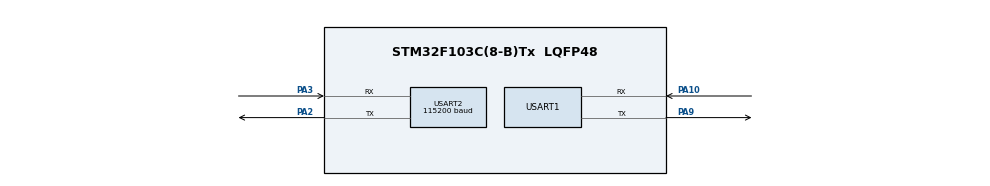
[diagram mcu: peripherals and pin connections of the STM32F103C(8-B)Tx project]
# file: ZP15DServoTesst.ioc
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Mcu.Family=STM32F1
Mcu.Name=STM32F103C(8-B)Tx
Mcu.Package=LQFP48
NVIC.PriorityGroup=NVIC_PRIORITYGROUP_4
PA2.Mode=Asynchronous
PA2.Signal=USART2_TX
PA3.Mode=Asynchronous
PA3.Signal=USART2_RX
PA10.Mode=Asynchronous
PA10.Signal=USART1_RX
PA13.Mode=Serial_Wire
PA13.Signal=SYS_JTMS-SWDIO
PA14.Mode=Serial_Wire
PA14.Signal=SYS_JTCK-SWCLK
PA9.Mode=Asynchronous
PA9.Signal=USART1_TX
ProjectManager.HeapSize=0x200
ProjectManager.StackSize=0x400
ProjectManager.TargetToolchain=CMake
RCC.APB1Freq_Value=8000000
RCC.APB2Freq_Value=8000000
USART1.VirtualMode=VM_ASYNC
USART2.BaudRate=115200
USART2.VirtualMode=VM_ASYNC
board=custom

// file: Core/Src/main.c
/* USER CODE BEGIN Header */
/**
  ******************************************************************************
  * @file           : main.c
  * @brief          : Main program body
  ******************************************************************************
  * @attention
  *
  * Copyright (c) 2026 STMicroelectronics.
  * All rights reserved.
  *
  * This software is licensed under terms that can be found in the LICENSE file
  * in the root directory of this software component.
  * If no LICENSE file comes with this software, it is provided AS-IS.
  *
  ******************************************************************************
  */
/* USER CODE END Header */
#include "main.h"

/* USER CODE BEGIN Includes */
#include <stdio.h>
#include <string.h>

#include "ZP15D.h"
/* USER CODE END Includes */

UART_HandleTypeDef huart1;
UART_HandleTypeDef huart2;

/* USER CODE BEGIN PV */
char ret[32];
char str[200];
uint16_t pos=500;
uint16_t ret_len;
uint16_t position_value;
uint16_t version_value;
uint16_t temperature_value;
uint16_t voltage_x10;
uint8_t read_ok;
uint8_t pos_ok;
uint8_t temp_voltage_ok;
uint8_t version_ok;
uint8_t mode_ok;
uint8_t mode;
uint8_t ID;
uint32_t now=0;
uint32_t last_time=0;
uint32_t last_read_time=0;
uint32_t last_probe_time=0;
uint8_t probe_index=0;
/* USER CODE END PV */

void SystemClock_Config(void);
static void MX_GPIO_Init(void);
static void MX_USART1_UART_Init(void);
static void MX_USART2_UART_Init(void);

/* USER CODE BEGIN 0 */
const char *probe_cmds[] = {
  "#001PVER!",
  "#001PRAD!",
  "#001PMOD!",
  "#001PRTE!",
  "#001PRTV!",
  "#001PTE!",
  "#001PTMP!",
  "#001PVOL!",
  "#001PVIN!"
};

void ZP15D_ProbeReadCommand(void)
{
  const char *cmd = probe_cmds[probe_index];

  ZP15D_ClearRx();
  ZP15D_SendRaw(cmd);
  ret_len = ZP15D_ReadReturn(ret, sizeof(ret), 300);

  snprintf(str, sizeof(str), "probe_cmd=%s,probe_ret=%s,probe_len=%u\r\n", cmd, ret, ret_len);
  HAL_UART_Transmit(&huart2, (uint8_t *)str, strlen(str), 100);

  probe_index++;
  if (probe_index >= sizeof(probe_cmds) / sizeof(probe_cmds[0]))
  {
    probe_index = 0;
  }
}

/* USER CODE END 0 */

int main(void)
{

  /* MCU Configuration--------------------------------------------------------*/

  /* Reset of all peripherals, Initializes the Flash interface and the Systick. */
  HAL_Init();

  /* Configure the system clock */
  SystemClock_Config();

  /* Initialize all configured peripherals */
  MX_GPIO_Init();
  MX_USART1_UART_Init();
  MX_USART2_UART_Init();
  /* USER CODE BEGIN 2 */

  HAL_UART_Transmit(&huart2, (uint8_t *)"vofa start\r\n", 12, 100);
  ZP15D_SetMode(1,1);
  /* USER CODE END 2 */

  /* Infinite loop */
  /* USER CODE BEGIN WHILE */
  while (1)
  {
    ZP15D_Move(2,1000,1000);

    /* USER CODE END WHILE */

  }
}

void SystemClock_Config(void)
{
  RCC_OscInitTypeDef RCC_OscInitStruct = {0};
  RCC_ClkInitTypeDef RCC_ClkInitStruct = {0};

  /** Initializes the RCC Oscillators according to the specified parameters
  * in the RCC_OscInitTypeDef structure.
  */
  RCC_OscInitStruct.OscillatorType = RCC_OSCILLATORTYPE_HSI;
  RCC_OscInitStruct.HSIState = RCC_HSI_ON;
  RCC_OscInitStruct.HSICalibrationValue = RCC_HSICALIBRATION_DEFAULT;
  RCC_OscInitStruct.PLL.PLLState = RCC_PLL_NONE;
  if (HAL_RCC_OscConfig(&RCC_OscInitStruct) != HAL_OK)
  {
    Error_Handler();
  }

  /** Initializes the CPU, AHB and APB buses clocks
  */
  RCC_ClkInitStruct.ClockType = RCC_CLOCKTYPE_HCLK|RCC_CLOCKTYPE_SYSCLK
                              |RCC_CLOCKTYPE_PCLK1|RCC_CLOCKTYPE_PCLK2;
  RCC_ClkInitStruct.SYSCLKSource = RCC_SYSCLKSOURCE_HSI;
  RCC_ClkInitStruct.AHBCLKDivider = RCC_SYSCLK_DIV1;
  RCC_ClkInitStruct.APB1CLKDivider = RCC_HCLK_DIV1;
  RCC_ClkInitStruct.APB2CLKDivider = RCC_HCLK_DIV1;

  if (HAL_RCC_ClockConfig(&RCC_ClkInitStruct, FLASH_LATENCY_0) != HAL_OK)
  {
    Error_Handler();
  }
}

static void MX_USART1_UART_Init(void)
{

  huart1.Instance = USART1;
  huart1.Init.BaudRate = 115200;
  huart1.Init.WordLength = UART_WORDLENGTH_8B;
  huart1.Init.StopBits = UART_STOPBITS_1;
  huart1.Init.Parity = UART_PARITY_NONE;
  huart1.Init.Mode = UART_MODE_TX_RX;
  huart1.Init.HwFlowCtl = UART_HWCONTROL_NONE;
  huart1.Init.OverSampling = UART_OVERSAMPLING_16;
  if (HAL_UART_Init(&huart1) != HAL_OK)
  {
    Error_Handler();
  }

}

static void MX_USART2_UART_Init(void)
{

  huart2.Instance = USART2;
  huart2.Init.BaudRate = 115200;
  huart2.Init.WordLength = UART_WORDLENGTH_8B;
  huart2.Init.StopBits = UART_STOPBITS_1;
  huart2.Init.Parity = UART_PARITY_NONE;
  huart2.Init.Mode = UART_MODE_TX_RX;
  huart2.Init.HwFlowCtl = UART_HWCONTROL_NONE;
  huart2.Init.OverSampling = UART_OVERSAMPLING_16;
  if (HAL_UART_Init(&huart2) != HAL_OK)
  {
    Error_Handler();
  }

}

static void MX_GPIO_Init(void)
{

  /* GPIO Ports Clock Enable */
  __HAL_RCC_GPIOA_CLK_ENABLE();

}

void Error_Handler(void)
{
  __disable_irq();
  while (1)
  {
  }
}
